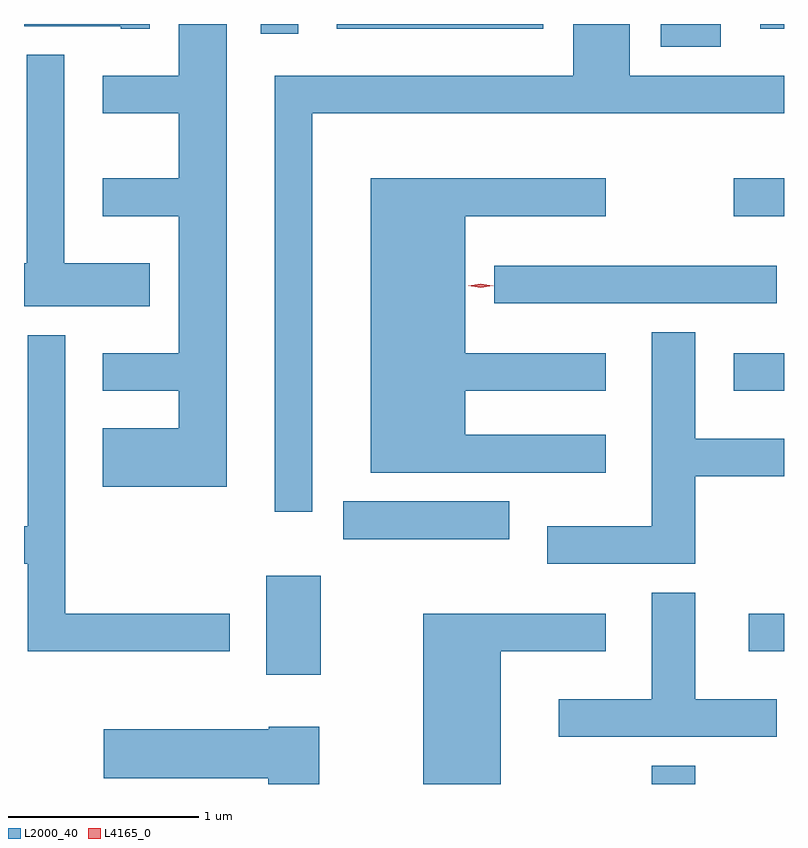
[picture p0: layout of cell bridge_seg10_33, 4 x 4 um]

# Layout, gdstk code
import gdstk
lib = gdstk.Library(unit=1e-6, precision=1e-09)
def R(c, l, rs):  # rectangles x0, y0, x1, y1
    for r in rs: c.add(gdstk.rectangle(r[:2], r[2:], *l))
def P(c, l, *ps):  # polygons
    for p in ps: c.add(gdstk.Polygon(p, *l))
L2000_40 = (2000, 40)
L4165_0 = (4165, 0)

bridge_seg10_33 = lib.new_cell('bridge_seg10_33')
R(bridge_seg10_33, L2000_40, [(1755.516,2211.637,1755.744,2211.734), (1753.486,2212.211,1753.774,2212.734), (1756.026,2212.336,1756.211,2212.534), (1753.891,2212.926,1754.764,2213.124), (1755.946,2213.706,1756.211,2213.904), (1754.686,2214.166,1756.174,2214.364), (1755.946,2214.626,1756.211,2214.824), (1755.561,2215.516,1755.879,2215.637), (1753.456,2215.586,1753.654,2215.637), (1753.856,2215.611,1754.944,2215.637), (1756.086,2215.611,1756.211,2215.637)])
P(bridge_seg10_33, L2000_40, [(1752.874,2215.637),(1752.211,2215.637),(1752.211,2215.626),(1752.72,2215.626),(1752.72,2215.611),(1752.874,2215.611)],
  [(1753.729,2215.166),(1756.211,2215.166),(1756.211,2215.364),(1755.399,2215.364),(1755.399,2215.637),(1755.101,2215.637),(1755.101,2215.364),(1753.531,2215.364),(1753.531,2213.071),(1753.729,2213.071)],
  [(1753.279,2215.637),(1753.026,2215.637),(1753.026,2215.364),(1752.626,2215.364),(1752.626,2215.166),(1753.026,2215.166),(1753.026,2214.824),(1752.626,2214.824),(1752.626,2214.626),(1753.026,2214.626),(1753.026,2213.904),(1752.626,2213.904),(1752.626,2213.706),(1753.026,2213.706),(1753.026,2213.509),(1752.626,2213.509),(1752.626,2213.201),(1753.279,2213.201)],
  [(1752.874,2214.379),(1752.424,2214.379),(1752.424,2215.474),(1752.226,2215.474),(1752.226,2214.379),(1752.211,2214.379),(1752.211,2214.151),(1752.874,2214.151)],
  [(1755.274,2213.474),(1754.534,2213.474),(1754.534,2213.706),(1755.274,2213.706),(1755.274,2213.904),(1754.534,2213.904),(1754.534,2214.626),(1755.274,2214.626),(1755.274,2214.824),(1754.036,2214.824),(1754.036,2213.276),(1755.274,2213.276)],
  [(1755.744,2213.256),(1756.211,2213.256),(1756.211,2213.454),(1755.744,2213.454),(1755.744,2214.014),(1755.516,2214.014),(1755.516,2212.994),(1754.966,2212.994),(1754.966,2212.796),(1755.744,2212.796)],
  [(1753.294,2212.534),(1752.429,2212.534),(1752.429,2213.999),(1752.231,2213.999),(1752.231,2212.994),(1752.211,2212.994),(1752.211,2212.796),(1752.231,2212.796),(1752.231,2212.336),(1753.294,2212.336)],
  [(1756.174,2212.084),(1755.744,2212.084),(1755.744,2212.644),(1755.516,2212.644),(1755.516,2212.084),(1755.026,2212.084),(1755.026,2211.886),(1756.174,2211.886)],
  [(1754.719,2212.336),(1755.274,2212.336),(1755.274,2212.534),(1754.311,2212.534),(1754.311,2211.637),(1754.719,2211.637)],
  [(1753.764,2211.939),(1753.5,2211.939),(1753.5,2211.924),(1752.631,2211.924),(1752.631,2211.666),(1753.496,2211.666),(1753.496,2211.637),(1753.764,2211.637)])
P(bridge_seg10_33, L4165_0, [(1754.614,2214.25),(1754.548,2214.259),(1754.548,2214.26),(1754.548,2214.26),(1754.614,2214.27),(1754.679,2214.26),(1754.68,2214.26),(1754.679,2214.26)])

lib.write_gds('bridge_seg10_33.gds')
